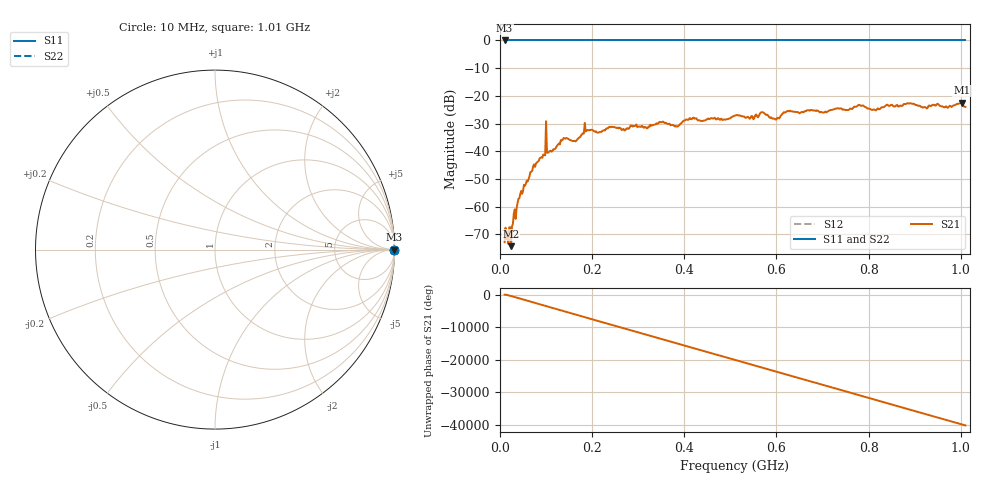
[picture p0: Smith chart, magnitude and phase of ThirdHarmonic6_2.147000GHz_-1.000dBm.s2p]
! 8/17/2025 1:38:36 AM
! C:\ANRITSUVNA\TEMP\TEMP.S2P
! CHANNEL.1
! TR.MEASUREMENT
! RAW.DATA
! RF.CORRECTION.OFF
! AVERAGING.OFF
! IF.BANDWIDTH: 5KHZ
! SWEEPTYPE:  FREQ.SWEEP(Linear)
! Reference Plane Port Info
! PORT:  PORT1  PORT2
! DISTANCE:  0  m  0  m
! TIME:  0  s  0  s
! PHASE.OFFSET:  0  deg.  0  deg.
! LOSS:  0  dB  0  dB
! REF.LOSS:  0  dB  0  dB
! REF.FREQ:  0  Hz  0  Hz
! Power Info
! POWER:  -20  dBm  -20  dBm
! EFF.POWER:  -20  dBm  -20  dBm
! SOURCE.ATTEN:  0  dB  0  dB
! TEST.ATTEN:  0  dB  0  dB
# GHZ S RI R 50.0
! FREQ.GHZ  S11RE  S11IM  S21RE  S21IM  S12RE  S12IM  S22RE  S22IM
!; PortSelection: Port_12
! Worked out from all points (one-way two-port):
!   501 points, 10 MHz to 1.01 GHz, reference 50 ohm
!   highest |S21| = -22.40 dB at 1.002 GHz (marker M1); lowest = -74.2 dB at 24 MHz (marker M2)
!   lowest |S11| = 0.0 dB at 10 MHz (marker M3)
!   |S11| at or under -10 dB: nowhere
!   |S22| runs from 0.0 to 0.0 dB; largest |S21 - S12| = 1.1
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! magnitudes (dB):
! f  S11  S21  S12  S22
! 10 MHz  0.0  -72.8  0.0  0.0
! 24 MHz  0.0  -74.2  0.0  0.0
! 42 MHz  0.0  -57.0  0.0  0.0
! 70 MHz  0.0  -47.0  0.0  0.0
! 94 MHz  0.0  -41.1  0.0  0.0
! 96 MHz  0.0  -41.4  0.0  0.0
! 104 MHz  0.0  -40.5  0.0  0.0
! 108 MHz  0.0  -39.9  0.0  0.0
! 136 MHz  0.0  -35.8  0.0  0.0
! 178 MHz  0.0  -33.9  0.0  0.0
! 188 MHz  0.0  -32.6  0.0  0.0
! 344 MHz  0.0  -29.9  0.0  0.0
! 384 MHz  0.0  -31.1  0.0  0.0
! 416 MHz  0.0  -28.4  0.0  0.0
! 510 MHz  0.0  -27.1  0.0  0.0
! 570 MHz  0.0  -25.9  0.0  0.0
! 596 MHz  0.0  -28.3  0.0  0.0
! 626 MHz  0.0  -25.4  0.0  0.0
! 678 MHz  0.0  -25.3  0.0  0.0
! 844 MHz  0.0  -23.6  0.0  0.0
! 1.002 GHz  0.0  -22.4  0.0  0.0
! 1.01 GHz  0.0  -24.0  0.0  0.0
